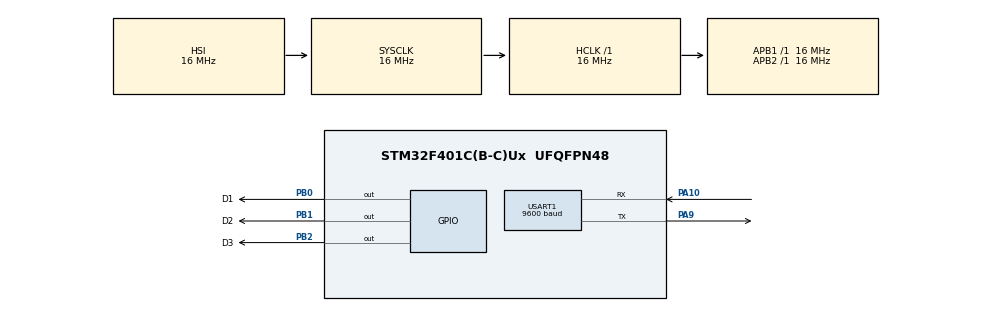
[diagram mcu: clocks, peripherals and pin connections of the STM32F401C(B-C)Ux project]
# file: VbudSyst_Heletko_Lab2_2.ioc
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Mcu.Family=STM32F4
Mcu.Name=STM32F401C(B-C)Ux
Mcu.Package=UFQFPN48
NVIC.PriorityGroup=NVIC_PRIORITYGROUP_4
NVIC.USART1_IRQn=true\:0\:0\:false\:false\:true\:true\:true\:true
PA10.Mode=Asynchronous
PA10.Signal=USART1_RX
PA13.Mode=Serial_Wire
PA13.Signal=SYS_JTMS-SWDIO
PA14.Mode=Serial_Wire
PA14.Signal=SYS_JTCK-SWCLK
PA9.Mode=Asynchronous
PA9.Signal=USART1_TX
PB0.GPIO_Label=D1
PB0.Signal=GPIO_Output
PB1.GPIO_Label=D2
PB1.Signal=GPIO_Output
PB2.GPIO_Label=D3
PB2.Signal=GPIO_Output
ProjectManager.HeapSize=0x200
ProjectManager.StackSize=0x400
ProjectManager.TargetToolchain=STM32CubeIDE
RCC.AHBFreq_Value=16000000
RCC.APB1Freq_Value=16000000
RCC.APB2Freq_Value=16000000
RCC.CortexFreq_Value=16000000
RCC.HSE_VALUE=25000000
RCC.HSI_VALUE=16000000
RCC.LSE_VALUE=32768
RCC.SYSCLKFreq_VALUE=16000000
RCC.VCOOutputFreq_Value=192000000
USART1.BaudRate=9600
USART1.VirtualMode=VM_ASYNC
board=custom

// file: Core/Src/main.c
/* USER CODE BEGIN Header */
/**
  ******************************************************************************
  * @file           : main.c
  * @brief          : Main program body
  ******************************************************************************
  * @attention
  *
  * Copyright (c) 2023 STMicroelectronics.
  * All rights reserved.
  *
  * This software is licensed under terms that can be found in the LICENSE file
  * in the root directory of this software component.
  * If no LICENSE file comes with this software, it is provided AS-IS.
  *
  ******************************************************************************
  */
/* USER CODE END Header */
#include "main.h"

/* USER CODE BEGIN Includes */
#include "ringbuffer.h"
#include "string.h"
/* USER CODE END Includes */

/* USER CODE BEGIN PTD */
#define CMD_MAX_LEN 32
/* USER CODE END PTD */

 UART_HandleTypeDef huart1;

/* USER CODE BEGIN PV */
 uint8_t rx1[1] = {'\0',};
 uint8_t tx1[1] = {'\0',};
 RingBuffer txBuf;
 int cmd_pos = 0;
 uint8_t command[CMD_MAX_LEN] = {'\0',};
/* USER CODE END PV */

void SystemClock_Config(void);
static void MX_GPIO_Init(void);
static void MX_USART1_UART_Init(void);

int main(void)
{

  /* MCU Configuration--------------------------------------------------------*/

  /* Reset of all peripherals, Initializes the Flash interface and the Systick. */
  HAL_Init();

  /* Configure the system clock */
  SystemClock_Config();

  /* Initialize all configured peripherals */
  MX_GPIO_Init();
  MX_USART1_UART_Init();

  /* Infinite loop */
  /* USER CODE BEGIN WHILE */
  HAL_UART_Receive_IT(&huart1, rx1, sizeof(rx1));
  while (1)
  {
    /* USER CODE END WHILE */

    /* USER CODE BEGIN 3 */
	if(huart1.RxState == HAL_UART_STATE_READY)
	{
		HAL_UART_Receive_IT(&huart1, rx1, sizeof(rx1));
	}
  }
  /* USER CODE END 3 */
}

void SystemClock_Config(void)
{
  RCC_OscInitTypeDef RCC_OscInitStruct = {0};
  RCC_ClkInitTypeDef RCC_ClkInitStruct = {0};

  /** Configure the main internal regulator output voltage
  */
  __HAL_RCC_PWR_CLK_ENABLE();
  __HAL_PWR_VOLTAGESCALING_CONFIG(PWR_REGULATOR_VOLTAGE_SCALE2);

  /** Initializes the RCC Oscillators according to the specified parameters
  * in the RCC_OscInitTypeDef structure.
  */
  RCC_OscInitStruct.OscillatorType = RCC_OSCILLATORTYPE_HSI;
  RCC_OscInitStruct.HSIState = RCC_HSI_ON;
  RCC_OscInitStruct.HSICalibrationValue = RCC_HSICALIBRATION_DEFAULT;
  RCC_OscInitStruct.PLL.PLLState = RCC_PLL_NONE;
  if (HAL_RCC_OscConfig(&RCC_OscInitStruct) != HAL_OK)
  {
    Error_Handler();
  }

  /** Initializes the CPU, AHB and APB buses clocks
  */
  RCC_ClkInitStruct.ClockType = RCC_CLOCKTYPE_HCLK|RCC_CLOCKTYPE_SYSCLK
                              |RCC_CLOCKTYPE_PCLK1|RCC_CLOCKTYPE_PCLK2;
  RCC_ClkInitStruct.SYSCLKSource = RCC_SYSCLKSOURCE_HSI;
  RCC_ClkInitStruct.AHBCLKDivider = RCC_SYSCLK_DIV1;
  RCC_ClkInitStruct.APB1CLKDivider = RCC_HCLK_DIV1;
  RCC_ClkInitStruct.APB2CLKDivider = RCC_HCLK_DIV1;

  if (HAL_RCC_ClockConfig(&RCC_ClkInitStruct, FLASH_LATENCY_0) != HAL_OK)
  {
    Error_Handler();
  }
}

static void MX_USART1_UART_Init(void)
{

  huart1.Instance = USART1;
  huart1.Init.BaudRate = 9600;
  huart1.Init.WordLength = UART_WORDLENGTH_8B;
  huart1.Init.StopBits = UART_STOPBITS_1;
  huart1.Init.Parity = UART_PARITY_NONE;
  huart1.Init.Mode = UART_MODE_TX_RX;
  huart1.Init.HwFlowCtl = UART_HWCONTROL_NONE;
  huart1.Init.OverSampling = UART_OVERSAMPLING_16;
  if (HAL_UART_Init(&huart1) != HAL_OK)
  {
    Error_Handler();
  }

}

static void MX_GPIO_Init(void)
{
  GPIO_InitTypeDef GPIO_InitStruct = {0};

  /* GPIO Ports Clock Enable */
  __HAL_RCC_GPIOB_CLK_ENABLE();
  __HAL_RCC_GPIOA_CLK_ENABLE();

  /*Configure GPIO pin Output Level */
  HAL_GPIO_WritePin(GPIOB, D1_Pin|D2_Pin|D3_Pin, GPIO_PIN_RESET);

  /*Configure GPIO pins : D1_Pin D2_Pin D3_Pin */
  GPIO_InitStruct.Pin = D1_Pin|D2_Pin|D3_Pin;
  GPIO_InitStruct.Mode = GPIO_MODE_OUTPUT_PP;
  GPIO_InitStruct.Pull = GPIO_NOPULL;
  GPIO_InitStruct.Speed = GPIO_SPEED_FREQ_LOW;
  HAL_GPIO_Init(GPIOB, &GPIO_InitStruct);

}

/* USER CODE BEGIN 4 */
void HAL_UART_TxCpltCallback(UART_HandleTypeDef *huart)
{
	if(huart == &huart1)
	{
		tx1[0] = '\0';

		if(RingBuffer_GetDataLength(&txBuf) > 0)
		{
			RingBuffer_Read(&txBuf, tx1, 1);
			HAL_UART_Transmit_IT(huart, tx1, 1);
		}
	}
}

void HAL_UART_RxCpltCallback(UART_HandleTypeDef *huart)
{
	if(huart == &huart1)
	{
		tx1[0] = rx1[0];

		if(HAL_UART_Transmit_IT(&huart1, tx1, sizeof(tx1)) != HAL_OK)
		{
			if(RingBuffer_Write(&txBuf, tx1, sizeof(tx1)) != RING_BUFFER_OK)
			{
				//Голова кільцевого буферу дійшла до його хвосту
			}
		}

		if(rx1[0] != '\r' && cmd_pos < CMD_MAX_LEN - 2) //Якщо поточний символ не відповідає символу переміщення каретки в початок, а також поточна позиція в буфері для зберігання команди менша кількості максимальної довжини команди мінус символ кінця рядку та символ переміщення на новий рядок
		{
			command[cmd_pos] = rx1[0];
			cmd_pos++;
		}
		else
		{
			if(!strncmp(command, "d1", 2)) //Якщо команда співпала з командою включення першого світлодіоду
			{
				HAL_GPIO_TogglePin(D1_GPIO_Port, D1_Pin); //Змінити стан світлодіода 1
				uint8_t msg2[] = "Switch D1\r\n";
				if(HAL_UART_Transmit_IT(&huart1, msg2, sizeof(msg2)) != HAL_OK) //Якщо передача в поточний момент часу неможлива
				{
					if(RingBuffer_Write(&txBuf, msg2, sizeof(msg2)) != RING_BUFFER_OK) //Додати в кільцевий буфер та перевірити успішність операції
					{
						//Голова кільцевого буферу дійшла до його хвосту
					}
				}
			}
			if(!strncmp(command, "d2", 2))
			{
				HAL_GPIO_TogglePin(D2_GPIO_Port, D2_Pin); //Змінити стан світлодіода 2
				uint8_t msg2[] = "Switch D2\r\n";
				if(HAL_UART_Transmit_IT(&huart1, msg2, sizeof(msg2)) != HAL_OK) //Якщо передача в поточний момент часу неможлива
				{
					if(RingBuffer_Write(&txBuf, msg2, sizeof(msg2)) != RING_BUFFER_OK) //Додати в кільцевий буфер та перевірити успішність операції
					{
						//Голова кільцевого буферу дійшла до його хвосту
					}
				}
			}
			if(!strncmp(command, "d3", 2))
			{
				HAL_GPIO_TogglePin(D3_GPIO_Port, D3_Pin); //Змінити стан світлодіода 3
				uint8_t msg2[] = "Switch D3\r\n";
				if(HAL_UART_Transmit_IT(&huart1, msg2, sizeof(msg2)) != HAL_OK) //Якщо передача в поточний момент часу неможлива
				{
					if(RingBuffer_Write(&txBuf, msg2, sizeof(msg2)) != RING_BUFFER_OK) //Додати в кільцевий буфер та перевірити успішність операції
					{
						//Голова кільцевого буферу дійшла до його хвосту
					}
				}
			}
			memset(command, 0, sizeof(command)); //Очистити буфер для зберігання наступної команди
			cmd_pos = 0;
			HAL_UART_Transmit_IT(&huart1, "\n\r", 2);
		}

		HAL_UART_Receive_IT(&huart1, rx1, sizeof(rx1));
	}
}
/* USER CODE END 4 */

void Error_Handler(void)
{
  __disable_irq();
  while (1)
  {
  }
}
